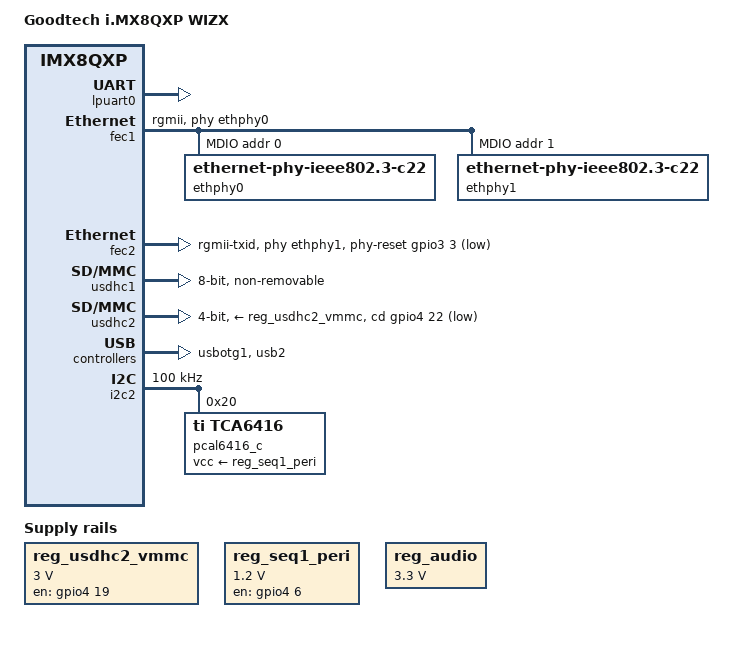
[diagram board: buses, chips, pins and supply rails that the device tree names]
/*
 * Copyright 2017 NXP
 *
 * This program is free software; you can redistribute it and/or
 * modify it under the terms of the GNU General Public License
 * as published by the Free Software Foundation; either version 2
 * of the License, or (at your option) any later version.
 *
 * This program is distributed in the hope that it will be useful,
 * but WITHOUT ANY WARRANTY; without even the implied warranty of
 * MERCHANTABILITY or FITNESS FOR A PARTICULAR PURPOSE.  See the
 * GNU General Public License for more details.
 */

/dts-v1/;

/* First 128KB is for PSCI ATF. */
/* Last 127M is for M4/RPMSG */
/memreserve/ 0x80000000 0x08000000;

#include "fsl-imx8qxp.dtsi"

/ {
	model = "Goodtech i.MX8QXP WIZX";
	compatible = "fsl,imx8qxp-wizx", "fsl,imx8qxp";

	aliases {
		//i2c4 = &bb_i2c1;
		//i2c5 = &mfi_i2c1;
		//i2c6 = &i2cexp1_i2c1;
		//i2c7 = &i2cexp2_i2c1;
	};

	chosen {
		bootargs = "console=ttyLP0,115200 earlycon=lpuart32,0x5a060000,115200";
		stdout-path = &lpuart0;
	};

	regulators {
		compatible = "simple-bus";
		#address-cells = <1>;
		#size-cells = <0>;

		reg_usdhc2_vmmc: usdhc2_vmmc {
			compatible = "regulator-fixed";
			regulator-name = "SD1_SPWR";
			regulator-min-microvolt = <3000000>;
			regulator-max-microvolt = <3000000>;
			gpio = <&gpio4 19 GPIO_ACTIVE_HIGH>;
			enable-active-high;
			startup-delay-us = <100>;
			off-on-delay-us = <12000>;
		};

		reg_seq1_peri: regulator_seq1 {
			compatible = "regulator-fixed";
			regulator-name = "PWR_SEQ1";
			pinctrl-names = "default";
			pinctrl-0 = <&pinctrl_reg_seq1_peri>;
			regulator-min-microvolt = <1200000>;
			regulator-max-microvolt = <1200000>;
			gpio = <&gpio4 6 GPIO_ACTIVE_HIGH>;
			enable-active-high;
			regulator-always-on;
		};
		
		
		//reg_usb_otg1_vbus: regulator@0 {
		//	compatible = "regulator-fixed";
		//	reg = <0>;
		//	regulator-name = "usb_otg1_vbus";
		//	regulator-min-microvolt = <5000000>;
		//	regulator-max-microvolt = <5000000>;
		//	gpio = <&pca9557_b 2 GPIO_ACTIVE_HIGH>;
		//	enable-active-high;
		//};
		
		reg_audio: fixedregulator@2 {
			compatible = "regulator-fixed";
			reg = <2>;
			regulator-name = "cs42888_supply";
			regulator-min-microvolt = <3300000>;
			regulator-max-microvolt = <3300000>;
			regulator-always-on;
		};

		//reg_1v2_peri: regulator_seq1@3 {
		//	compatible = "regulator-fixed";
		//	reg = <3>;
		//	regulator-name = "PWR_SEQ1";
		//	pinctrl-names = "default";
		//	pinctrl-0 = <&pinctrl_reg_1v2_peri>;
		//	regulator-min-microvolt = <1200000>;
		//	regulator-max-microvolt = <1200000>;
		//	gpio = <&gpio4 6 GPIO_ACTIVE_HIGH>;
		//	enable-active-high;
		//	regulator-boot-on;
		//	startup-delay-us = <100000>;
		//	regulator-always-on;
		//};
		
		//reg_5v_peri: regulator_seq2@4 {
		//	compatible = "regulator-fixed";
		//	regulator-name = "PWR_SEQ2";
		//	reg = <4>;
		//	regulator-min-microvolt = <5000000>;
		//	regulator-max-microvolt = <5000000>;
		//	gpio = <&gpio4 4 GPIO_ACTIVE_HIGH>;
		//	enable-active-high;
		//	regulator-boot-on;
		//	startup-delay-us = <200000>;
		//	regulator-always-on; 
		//};

		//reg_3v3_peri: regulator_seq3@5 {
		//	compatible = "regulator-fixed";
		//	regulator-name = "PWR_SEQ3";
		//	reg = <5>;
		//	regulator-min-microvolt = <3300000>;
		//	regulator-max-microvolt = <3300000>;
		//	gpio = <&gpio4 5 GPIO_ACTIVE_HIGH>;
		//	enable-active-high;
		//	regulator-boot-on;
		//	startup-delay-us = <300000>;
		//	regulator-always-on;
		//};

		//reg_1v2_misc: regulator_seq4@6 {
		//	compatible = "regulator-fixed";
		//	regulator-name = "PWR_SEQ4";
		//	reg = <6>;
		//	regulator-min-microvolt = <1200000>;
		//	regulator-max-microvolt = <1200000>;
		//	gpio = <&gpio4 3 GPIO_ACTIVE_HIGH>;
		//	enable-active-high;
		//	startup-delay-us = <400000>;
		//	regulator-always-on;
		//};
	};
};

&iomuxc {
	pinctrl-names = "default";
	pinctrl-0 = <&pinctrl_hog>;

	imx8qxp-wizx {
		pinctrl_hog: hoggrp {
			fsl,pins = <
				//SC_P_COMP_CTL_GPIO_1V8_3V3_GPIORHB_PAD	0x000514a0
			>;
		};

		pinctrl_lpuart0: lpuart0grp {
			fsl,pins = <
				SC_P_UART0_RX_ADMA_UART0_RX	0x06000020
				SC_P_UART0_TX_ADMA_UART0_TX	0x06000020
			>;
		};

		pinctrl_fec1: fec1grp {
			fsl,pins = <
				SC_P_COMP_CTL_GPIO_1V8_3V3_ENET_ENETB0_PAD	0x000014a0
				SC_P_COMP_CTL_GPIO_1V8_3V3_ENET_ENETB1_PAD	0x000014a0
				SC_P_ENET0_MDC_CONN_ENET0_MDC			0x06000020
				SC_P_ENET0_MDIO_CONN_ENET0_MDIO			0x06000020
				SC_P_ENET0_RGMII_TX_CTL_CONN_ENET0_RGMII_TX_CTL	0x00000060
				SC_P_ENET0_RGMII_TXC_CONN_ENET0_RGMII_TXC	0x00000060
				SC_P_ENET0_RGMII_TXD0_CONN_ENET0_RGMII_TXD0	0x00000060
				SC_P_ENET0_RGMII_TXD1_CONN_ENET0_RGMII_TXD1	0x00000060
				SC_P_ENET0_RGMII_TXD2_CONN_ENET0_RGMII_TXD2	0x00000060
				SC_P_ENET0_RGMII_TXD3_CONN_ENET0_RGMII_TXD3	0x00000060
				SC_P_ENET0_RGMII_RXC_CONN_ENET0_RGMII_RXC	0x00000060
				SC_P_ENET0_RGMII_RX_CTL_CONN_ENET0_RGMII_RX_CTL	0x00000060
				SC_P_ENET0_RGMII_RXD0_CONN_ENET0_RGMII_RXD0	0x00000060
				SC_P_ENET0_RGMII_RXD1_CONN_ENET0_RGMII_RXD1	0x00000060
				SC_P_ENET0_RGMII_RXD2_CONN_ENET0_RGMII_RXD2	0x00000060
				SC_P_ENET0_RGMII_RXD3_CONN_ENET0_RGMII_RXD3	0x00000060
			>;
		};

		pinctrl_fec2: fec2grp {
			fsl,pins = <
				SC_P_COMP_CTL_GPIO_1V8_3V3_GPIORHB_PAD		0x000514a0
				SC_P_ESAI0_SCKR_CONN_ENET1_RGMII_TX_CTL		0x00000060
				SC_P_ESAI0_FSR_CONN_ENET1_RGMII_TXC		0x00000060
				SC_P_ESAI0_TX4_RX1_CONN_ENET1_RGMII_TXD0	0x00000060
				SC_P_ESAI0_TX5_RX0_CONN_ENET1_RGMII_TXD1	0x00000060
				SC_P_ESAI0_FST_CONN_ENET1_RGMII_TXD2		0x00000060
				SC_P_ESAI0_SCKT_CONN_ENET1_RGMII_TXD3		0x00000060
				SC_P_ESAI0_TX0_CONN_ENET1_RGMII_RXC		0x00000060
				SC_P_SPDIF0_TX_CONN_ENET1_RGMII_RX_CTL		0x00000060
				SC_P_SPDIF0_RX_CONN_ENET1_RGMII_RXD0		0x00000060
				SC_P_ESAI0_TX3_RX2_CONN_ENET1_RGMII_RXD1	0x00000060
				SC_P_ESAI0_TX2_RX3_CONN_ENET1_RGMII_RXD2	0x00000060
				SC_P_ESAI0_TX1_CONN_ENET1_RGMII_RXD3		0x00000060
			>;
		};

		pinctrl_fec2_gpio: fec2gpiogrp {
			fsl,pins = <
				/* Reset */
				SC_P_CSI_RESET_LSIO_GPIO3_IO03	0x06000021
				/* Interrupt */
				SC_P_ADC_IN5_LSIO_GPIO1_IO13    0x06000021
			>;
		};

		pinctrl_usdhc1: usdhc1grp {
			fsl,pins = <
				SC_P_EMMC0_CLK_CONN_EMMC0_CLK		0x06000041
				SC_P_EMMC0_CMD_CONN_EMMC0_CMD		0x00000021
				SC_P_EMMC0_DATA0_CONN_EMMC0_DATA0	0x00000021
				SC_P_EMMC0_DATA1_CONN_EMMC0_DATA1	0x00000021
				SC_P_EMMC0_DATA2_CONN_EMMC0_DATA2	0x00000021
				SC_P_EMMC0_DATA3_CONN_EMMC0_DATA3	0x00000021
				SC_P_EMMC0_DATA4_CONN_EMMC0_DATA4	0x00000021
				SC_P_EMMC0_DATA5_CONN_EMMC0_DATA5	0x00000021
				SC_P_EMMC0_DATA6_CONN_EMMC0_DATA6	0x00000021
				SC_P_EMMC0_DATA7_CONN_EMMC0_DATA7	0x00000021
				SC_P_EMMC0_STROBE_CONN_EMMC0_STROBE	0x06000041
			>;
		};

		pinctrl_usdhc1_100mhz: usdhc1grp100mhz {
			fsl,pins = <
				SC_P_EMMC0_CLK_CONN_EMMC0_CLK		0x06000040
				SC_P_EMMC0_CMD_CONN_EMMC0_CMD		0x00000020
				SC_P_EMMC0_DATA0_CONN_EMMC0_DATA0	0x00000020
				SC_P_EMMC0_DATA1_CONN_EMMC0_DATA1	0x00000020
				SC_P_EMMC0_DATA2_CONN_EMMC0_DATA2	0x00000020
				SC_P_EMMC0_DATA3_CONN_EMMC0_DATA3	0x00000020
				SC_P_EMMC0_DATA4_CONN_EMMC0_DATA4	0x00000020
				SC_P_EMMC0_DATA5_CONN_EMMC0_DATA5	0x00000020
				SC_P_EMMC0_DATA6_CONN_EMMC0_DATA6	0x00000020
				SC_P_EMMC0_DATA7_CONN_EMMC0_DATA7	0x00000020
				SC_P_EMMC0_STROBE_CONN_EMMC0_STROBE	0x06000040
			>;
		};

		pinctrl_usdhc1_200mhz: usdhc1grp200mhz {
			fsl,pins = <
				SC_P_EMMC0_CLK_CONN_EMMC0_CLK		0x06000040
				SC_P_EMMC0_CMD_CONN_EMMC0_CMD		0x00000020
				SC_P_EMMC0_DATA0_CONN_EMMC0_DATA0	0x00000020
				SC_P_EMMC0_DATA1_CONN_EMMC0_DATA1	0x00000020
				SC_P_EMMC0_DATA2_CONN_EMMC0_DATA2	0x00000020
				SC_P_EMMC0_DATA3_CONN_EMMC0_DATA3	0x00000020
				SC_P_EMMC0_DATA4_CONN_EMMC0_DATA4	0x00000020
				SC_P_EMMC0_DATA5_CONN_EMMC0_DATA5	0x00000020
				SC_P_EMMC0_DATA6_CONN_EMMC0_DATA6	0x00000020
				SC_P_EMMC0_DATA7_CONN_EMMC0_DATA7	0x00000020
				SC_P_EMMC0_STROBE_CONN_EMMC0_STROBE	0x06000040
			>;
		};

		pinctrl_usdhc2_gpio: usdhc2gpiogrp {
			fsl,pins = <
				SC_P_USDHC1_RESET_B_LSIO_GPIO4_IO19	0x06000021
				SC_P_USDHC1_WP_LSIO_GPIO4_IO21		0x06000021
				SC_P_USDHC1_CD_B_LSIO_GPIO4_IO22	0x06000021
			>;
		};

		pinctrl_usdhc2: usdhc2grp {
			fsl,pins = <
				SC_P_USDHC1_CLK_CONN_USDHC1_CLK		0x06000041
				SC_P_USDHC1_CMD_CONN_USDHC1_CMD		0x06000021
				SC_P_USDHC1_DATA0_CONN_USDHC1_DATA0	0x06000021
				SC_P_USDHC1_DATA1_CONN_USDHC1_DATA1	0x06000021
				SC_P_USDHC1_DATA2_CONN_USDHC1_DATA2	0x06000021
				SC_P_USDHC1_DATA3_CONN_USDHC1_DATA3	0x06000021
				SC_P_USDHC1_VSELECT_CONN_USDHC1_VSELECT	0x06000021
			>;
		};

		pinctrl_usdhc2_100mhz: usdhc2grp100mhz {
			fsl,pins = <
				SC_P_USDHC1_CLK_CONN_USDHC1_CLK		0x06000040
				SC_P_USDHC1_CMD_CONN_USDHC1_CMD		0x06000020
				SC_P_USDHC1_DATA0_CONN_USDHC1_DATA0	0x06000020
				SC_P_USDHC1_DATA1_CONN_USDHC1_DATA1	0x06000020
				SC_P_USDHC1_DATA2_CONN_USDHC1_DATA2	0x06000020
				SC_P_USDHC1_DATA3_CONN_USDHC1_DATA3	0x06000020
				SC_P_USDHC1_VSELECT_CONN_USDHC1_VSELECT	0x06000020
			>;
		};

		pinctrl_usdhc2_200mhz: usdhc2grp200mhz {
			fsl,pins = <
				SC_P_USDHC1_CLK_CONN_USDHC1_CLK		0x06000040
				SC_P_USDHC1_CMD_CONN_USDHC1_CMD		0x06000020
				SC_P_USDHC1_DATA0_CONN_USDHC1_DATA0	0x06000020
				SC_P_USDHC1_DATA1_CONN_USDHC1_DATA1	0x06000020
				SC_P_USDHC1_DATA2_CONN_USDHC1_DATA2	0x06000020
				SC_P_USDHC1_DATA3_CONN_USDHC1_DATA3	0x06000020
				SC_P_USDHC1_VSELECT_CONN_USDHC1_VSELECT	0x06000020
			>;
		};

		pinctrl_lpi2c2: lpi2c2grp {
			fsl,pins = <
				SC_P_MIPI_DSI1_GPIO0_00_ADMA_I2C2_SCL 0x06000020
				SC_P_MIPI_DSI1_GPIO0_01_ADMA_I2C2_SDA 0x06000020
			>;
		};

		pinctrl_reg_seq1_peri: reg_seq1_peri_grp  {
			fsl,pins = <
				/* PWR_SEQ1 PIN */
				SC_P_USB_SS3_TC3_LSIO_GPIO4_IO06	0x06000021
			>;
		};

		pinctrl_i2c0_mipi_lvds0: mipi_lvds0_i2c0_grp {
			fsl,pins = <
				SC_P_MIPI_DSI0_I2C0_SCL_MIPI_DSI0_I2C0_SCL	0xc6000020
				SC_P_MIPI_DSI0_I2C0_SDA_MIPI_DSI0_I2C0_SDA	0xc6000020
			>;
		};
		//pinctrl_reg_1v2_peri: reg_1v2_peri_grp  {
		//	fsl,pins = <
		//		/* PWR_SEQ1 PIN */
		//		SC_P_USB_SS3_TC3_LSIO_GPIO4_IO06	0x06000020
		//	>;
		//};

	};
};

&lpuart0 {
	pinctrl-names = "default";
	pinctrl-0 = <&pinctrl_lpuart0>;
	status = "okay";
};

&fec1 {
	pinctrl-names = "default";
	pinctrl-0 = <&pinctrl_fec1>;
	phy-mode = "rgmii";
	phy-handle = <&ethphy0>;
	//phy-reset-gpios = <&gpio0 31 GPIO_ACTIVE_LOW>;
	fsl,ar8031-phy-fixup;
	fsl,magic-packet;
	status = "okay";

	mdio {
		#address-cells = <1>;
		#size-cells = <0>;

		ethphy0: ethernet-phy@0 {
			compatible = "ethernet-phy-ieee802.3-c22";
			reg = <0>;
		};

		ethphy1: ethernet-phy@1 {
			compatible = "ethernet-phy-ieee802.3-c22";
			reg = <1>;
		};
	};
};

&i2c0_mipi_lvds0 {
        #address-cells = <1>;
        #size-cells = <0>;
        pinctrl-names = "default";
        pinctrl-0 = <&pinctrl_i2c0_mipi_lvds0>;
        clock-frequency = <100000>;
        status = "disabled";
};

&fec2 {
	pinctrl-names = "default";
	pinctrl-0 = <&pinctrl_fec2>, <&pinctrl_fec2_gpio>;
	phy-mode = "rgmii-txid";
	phy-handle = <&ethphy1>;
	phy-reset-gpios = <&gpio3 3 GPIO_ACTIVE_LOW>;
	phy-reset-duration = <1>;
	fsl,magic-packet;
	fsl,rgmii_rxc_dly;
	status = "okay";
};


&usdhc1 {
	pinctrl-names = "default", "state_100mhz", "state_200mhz";
	pinctrl-0 = <&pinctrl_usdhc1>;
	pinctrl-1 = <&pinctrl_usdhc1_100mhz>;
	pinctrl-2 = <&pinctrl_usdhc1_200mhz>;
	bus-width = <8>;
	non-removable;
	status = "okay";
};

&usdhc2 {
	pinctrl-names = "default", "state_100mhz", "state_200mhz";
	pinctrl-0 = <&pinctrl_usdhc2>, <&pinctrl_usdhc2_gpio>;
	pinctrl-1 = <&pinctrl_usdhc2_100mhz>, <&pinctrl_usdhc2_gpio>;
	pinctrl-2 = <&pinctrl_usdhc2_200mhz>, <&pinctrl_usdhc2_gpio>;
	bus-width = <4>;
	cd-gpios = <&gpio4 22 GPIO_ACTIVE_LOW>;
	//wp-gpios = <&gpio4 21 GPIO_ACTIVE_HIGH>;
	disable-wp;
	vmmc-supply = <&reg_usdhc2_vmmc>;
	status = "okay";
};

&usbotg1 {
	//vbus-supply = <&reg_usb_otg1_vbus>;
	srp-disable;
	hnp-disable;
	adp-disable;
	power-polarity-active-high;
	disable-over-current;
	status = "okay";
};

&usb2 {
	status = "okay";
};

&i2c2 {
	#address-cells = <1>;
	#size-cells = <0>;
	clock-frequency = <100000>;
	pinctrl-names = "default";
	pinctrl-0 = <&pinctrl_lpi2c2>;
	status = "okay";
	
	pcal6416_c: gpio@20 {
		compatible = "ti,tca6416";
		reg = <0x20>;
		gpio-controller;
		vcc-supply = <&reg_seq1_peri>;
		//reset-gpios = <&gpio0 20 GPIO_ACTIVE_LOW>;
		#gpio-cells = <2>;
		status = "okay";
	};
};
